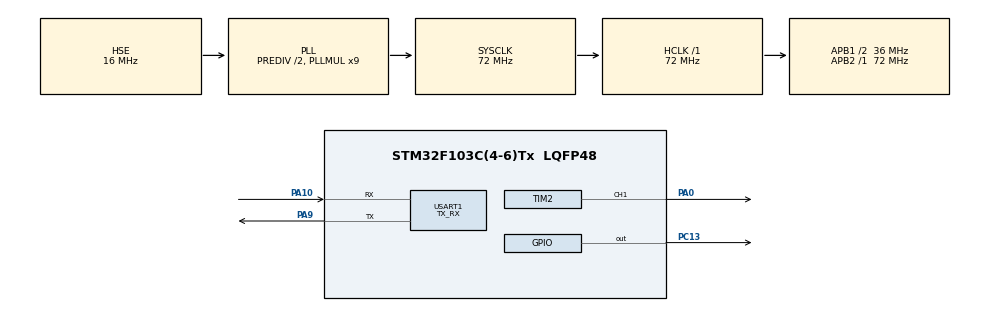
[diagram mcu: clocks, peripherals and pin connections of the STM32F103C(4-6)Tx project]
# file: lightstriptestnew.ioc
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Dma.Request0=TIM2_CH1
Dma.TIM2_CH1.0.Direction=DMA_MEMORY_TO_PERIPH
Dma.TIM2_CH1.0.Instance=DMA1_Channel5
Dma.TIM2_CH1.0.MemDataAlignment=DMA_MDATAALIGN_HALFWORD
Dma.TIM2_CH1.0.MemInc=DMA_MINC_ENABLE
Dma.TIM2_CH1.0.Mode=DMA_CIRCULAR
Dma.TIM2_CH1.0.PeriphDataAlignment=DMA_PDATAALIGN_HALFWORD
Dma.TIM2_CH1.0.PeriphInc=DMA_PINC_DISABLE
Dma.TIM2_CH1.0.Priority=DMA_PRIORITY_LOW
Mcu.Family=STM32F1
Mcu.Name=STM32F103C(4-6)Tx
Mcu.Package=LQFP48
NVIC.DMA1_Channel5_IRQn=true\:0\:0\:false\:false\:true\:false\:true\:true
NVIC.PriorityGroup=NVIC_PRIORITYGROUP_4
NVIC.TIM2_IRQn=true\:0\:0\:false\:false\:true\:true\:true\:true
NVIC.USART1_IRQn=true\:0\:0\:false\:false\:true\:true\:true\:true
PA0-WKUP.Signal=S_TIM2_CH1_ETR
PA10.Mode=Asynchronous
PA10.Signal=USART1_RX
PA13.Mode=Serial_Wire
PA13.Signal=SYS_JTMS-SWDIO
PA14.Mode=Serial_Wire
PA14.Signal=SYS_JTCK-SWCLK
PA9.Mode=Asynchronous
PA9.Signal=USART1_TX
PC13-TAMPER-RTC.Signal=GPIO_Output
PD0-OSC_IN.Mode=HSE-External-Oscillator
PD0-OSC_IN.Signal=RCC_OSC_IN
PD1-OSC_OUT.Mode=HSE-External-Oscillator
PD1-OSC_OUT.Signal=RCC_OSC_OUT
ProjectManager.HeapSize=0x200
ProjectManager.StackSize=0x400
ProjectManager.TargetToolchain=STM32CubeIDE
RCC.AHBFreq_Value=72000000
RCC.APB1CLKDivider=RCC_HCLK_DIV2
RCC.APB1Freq_Value=36000000
RCC.APB1TimFreq_Value=72000000
RCC.APB2Freq_Value=72000000
RCC.APB2TimFreq_Value=72000000
RCC.HCLKFreq_Value=72000000
RCC.HSEDivPLL=RCC_HSE_PREDIV_DIV2
RCC.HSE_VALUE=16000000
RCC.PLLMUL=RCC_PLL_MUL9
RCC.PLLSourceVirtual=RCC_PLLSOURCE_HSE
RCC.SYSCLKFreq_VALUE=72000000
RCC.SYSCLKSource=RCC_SYSCLKSOURCE_PLLCLK
RCC.USBFreq_Value=72000000
SH.S_TIM2_CH1_ETR.0=TIM2_CH1,PWM Generation1 CH1
TIM2.AutoReloadPreload=TIM_AUTORELOAD_PRELOAD_DISABLE
TIM2.Channel-PWM\ Generation1\ CH1=TIM_CHANNEL_1
TIM2.Period=90-1
USART1.Mode=MODE_TX_RX
USART1.VirtualMode=VM_ASYNC
VP_TIM2_VS_ClockSourceINT.Mode=Internal
board=custom

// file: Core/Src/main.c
/* USER CODE BEGIN Header */
/**
  ******************************************************************************
  * @file           : main.c
  * @brief          : Main program body
  ******************************************************************************
  * @attention
  *
  * Copyright (c) 2024 STMicroelectronics.
  * All rights reserved.
  *
  * This software is licensed under terms that can be found in the LICENSE file
  * in the root directory of this software component.
  * If no LICENSE file comes with this software, it is provided AS-IS.
  *
  ******************************************************************************
  */
/* USER CODE END Header */
#include "main.h"

/* USER CODE BEGIN Includes */
#include <stdio.h>
#include "string.h"
#include "led.h"
/* USER CODE END Includes */

/* USER CODE BEGIN PD */
#define NUMBER_OF_LEDS 7 //configure to # of leds
#define BRIGHTNESS 20 //configure value from 0-44, 0 = dimmest, 44 = brightest
/* USER CODE END PD */

TIM_HandleTypeDef htim2;
DMA_HandleTypeDef hdma_tim2_ch1;

UART_HandleTypeDef huart1;

/* USER CODE BEGIN PV */
led leds[NUMBER_OF_LEDS + 2]; //dma data send buffer
uint8_t RxColor[13]; //uart receive buffer
rgb_color realRGB; //LED lights as RGB values
/* USER CODE END PV */

void SystemClock_Config(void);
static void MX_GPIO_Init(void);
static void MX_DMA_Init(void);
static void MX_TIM2_Init(void);
static void MX_USART1_UART_Init(void);

/* USER CODE BEGIN 0 */

void HAL_UART_RxCpltCallback(UART_HandleTypeDef* huart){
	sscanf(RxColor, "%u %u %u\n", &realRGB.r, &realRGB.g, &realRGB.b);
	all_specific_led(leds, NUMBER_OF_LEDS, realRGB, 20);
	HAL_UART_Receive_IT(&huart1, RxColor, 12);
}

void initialize(){
	realRGB.r = 0;
	realRGB.g = 0;
	realRGB.b = 0;
	all_specific_led(leds, NUMBER_OF_LEDS, realRGB, BRIGHTNESS);
	HAL_UART_Receive_IT(&huart1, RxColor, 12); //edit for receiving preset colors?
	HAL_TIM_PWM_Start_DMA(&htim2, TIM_CHANNEL_1, (uint32_t*)leds, NUMBER_OF_LEDS * 24 + 2*24); //initializes continuous DMA
}
/* USER CODE END 0 */

int main(void)
{

  /* MCU Configuration--------------------------------------------------------*/

  /* Reset of all peripherals, Initializes the Flash interface and the Systick. */
  HAL_Init();

  /* Configure the system clock */
  SystemClock_Config();

  /* Initialize all configured peripherals */
  MX_GPIO_Init();
  MX_DMA_Init();
  MX_TIM2_Init();
  MX_USART1_UART_Init();
  /* USER CODE BEGIN 2 */
  initialize();
  /* USER CODE END 2 */

  /* Infinite loop */
  /* USER CODE BEGIN WHILE */
  while (1)
  {
	  //for turning off LEDS w/ uart, will stop DMA & stop accepting data just in case lol
	  if(realRGB.r == 1 && realRGB.g == 0 && realRGB.b == 0){
		  HAL_TIM_PWM_Stop_DMA(&htim2, TIM_CHANNEL_1);
	  }
//	  chasing pattern w/ 3 separate colors incrementing
	  chase_pattern_LED(leds, NUMBER_OF_LEDS, realRGB, BRIGHTNESS);
  }
    /* USER CODE END WHILE */

}

void SystemClock_Config(void)
{
  RCC_OscInitTypeDef RCC_OscInitStruct = {0};
  RCC_ClkInitTypeDef RCC_ClkInitStruct = {0};

  /** Initializes the RCC Oscillators according to the specified parameters
  * in the RCC_OscInitTypeDef structure.
  */
  RCC_OscInitStruct.OscillatorType = RCC_OSCILLATORTYPE_HSE;
  RCC_OscInitStruct.HSEState = RCC_HSE_ON;
  RCC_OscInitStruct.HSEPredivValue = RCC_HSE_PREDIV_DIV2;
  RCC_OscInitStruct.HSIState = RCC_HSI_ON;
  RCC_OscInitStruct.PLL.PLLState = RCC_PLL_ON;
  RCC_OscInitStruct.PLL.PLLSource = RCC_PLLSOURCE_HSE;
  RCC_OscInitStruct.PLL.PLLMUL = RCC_PLL_MUL9;
  if (HAL_RCC_OscConfig(&RCC_OscInitStruct) != HAL_OK)
  {
    Error_Handler();
  }

  /** Initializes the CPU, AHB and APB buses clocks
  */
  RCC_ClkInitStruct.ClockType = RCC_CLOCKTYPE_HCLK|RCC_CLOCKTYPE_SYSCLK
                              |RCC_CLOCKTYPE_PCLK1|RCC_CLOCKTYPE_PCLK2;
  RCC_ClkInitStruct.SYSCLKSource = RCC_SYSCLKSOURCE_PLLCLK;
  RCC_ClkInitStruct.AHBCLKDivider = RCC_SYSCLK_DIV1;
  RCC_ClkInitStruct.APB1CLKDivider = RCC_HCLK_DIV2;
  RCC_ClkInitStruct.APB2CLKDivider = RCC_HCLK_DIV1;

  if (HAL_RCC_ClockConfig(&RCC_ClkInitStruct, FLASH_LATENCY_2) != HAL_OK)
  {
    Error_Handler();
  }
}

static void MX_TIM2_Init(void)
{

  TIM_ClockConfigTypeDef sClockSourceConfig = {0};
  TIM_MasterConfigTypeDef sMasterConfig = {0};
  TIM_OC_InitTypeDef sConfigOC = {0};

  htim2.Instance = TIM2;
  htim2.Init.Prescaler = 0;
  htim2.Init.CounterMode = TIM_COUNTERMODE_UP;
  htim2.Init.Period = 90-1;
  htim2.Init.ClockDivision = TIM_CLOCKDIVISION_DIV1;
  htim2.Init.AutoReloadPreload = TIM_AUTORELOAD_PRELOAD_DISABLE;
  if (HAL_TIM_Base_Init(&htim2) != HAL_OK)
  {
    Error_Handler();
  }
  sClockSourceConfig.ClockSource = TIM_CLOCKSOURCE_INTERNAL;
  if (HAL_TIM_ConfigClockSource(&htim2, &sClockSourceConfig) != HAL_OK)
  {
    Error_Handler();
  }
  if (HAL_TIM_PWM_Init(&htim2) != HAL_OK)
  {
    Error_Handler();
  }
  sMasterConfig.MasterOutputTrigger = TIM_TRGO_RESET;
  sMasterConfig.MasterSlaveMode = TIM_MASTERSLAVEMODE_DISABLE;
  if (HAL_TIMEx_MasterConfigSynchronization(&htim2, &sMasterConfig) != HAL_OK)
  {
    Error_Handler();
  }
  sConfigOC.OCMode = TIM_OCMODE_PWM1;
  sConfigOC.Pulse = 0;
  sConfigOC.OCPolarity = TIM_OCPOLARITY_HIGH;
  sConfigOC.OCFastMode = TIM_OCFAST_DISABLE;
  if (HAL_TIM_PWM_ConfigChannel(&htim2, &sConfigOC, TIM_CHANNEL_1) != HAL_OK)
  {
    Error_Handler();
  }
  HAL_TIM_MspPostInit(&htim2);

}

static void MX_USART1_UART_Init(void)
{

  huart1.Instance = USART1;
  huart1.Init.BaudRate = 115200;
  huart1.Init.WordLength = UART_WORDLENGTH_8B;
  huart1.Init.StopBits = UART_STOPBITS_1;
  huart1.Init.Parity = UART_PARITY_NONE;
  huart1.Init.Mode = UART_MODE_TX_RX;
  huart1.Init.HwFlowCtl = UART_HWCONTROL_NONE;
  huart1.Init.OverSampling = UART_OVERSAMPLING_16;
  if (HAL_UART_Init(&huart1) != HAL_OK)
  {
    Error_Handler();
  }

}

static void MX_DMA_Init(void)
{

  /* DMA controller clock enable */
  __HAL_RCC_DMA1_CLK_ENABLE();

  /* DMA interrupt init */
  /* DMA1_Channel5_IRQn interrupt configuration */
  HAL_NVIC_SetPriority(DMA1_Channel5_IRQn, 0, 0);
  HAL_NVIC_EnableIRQ(DMA1_Channel5_IRQn);

}

static void MX_GPIO_Init(void)
{
  GPIO_InitTypeDef GPIO_InitStruct = {0};

  /* GPIO Ports Clock Enable */
  __HAL_RCC_GPIOC_CLK_ENABLE();
  __HAL_RCC_GPIOD_CLK_ENABLE();
  __HAL_RCC_GPIOA_CLK_ENABLE();

  /*Configure GPIO pin Output Level */
  HAL_GPIO_WritePin(GPIOC, GPIO_PIN_13, GPIO_PIN_RESET);

  /*Configure GPIO pin : PC13 */
  GPIO_InitStruct.Pin = GPIO_PIN_13;
  GPIO_InitStruct.Mode = GPIO_MODE_OUTPUT_PP;
  GPIO_InitStruct.Pull = GPIO_NOPULL;
  GPIO_InitStruct.Speed = GPIO_SPEED_FREQ_LOW;
  HAL_GPIO_Init(GPIOC, &GPIO_InitStruct);

}

void Error_Handler(void)
{
  __disable_irq();
  while (1)
  {
  }
}
